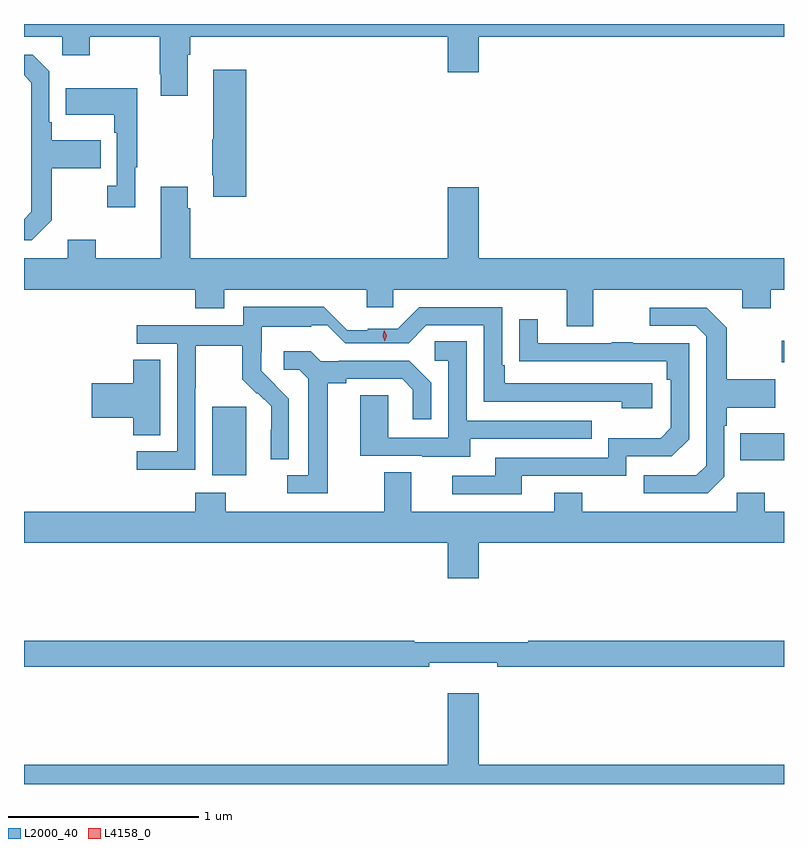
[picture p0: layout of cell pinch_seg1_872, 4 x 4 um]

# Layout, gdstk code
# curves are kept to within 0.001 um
import gdstk
lib = gdstk.Library(unit=1e-6, precision=1e-09)
def R(c, l, rs):  # rectangles x0, y0, x1, y1
    for r in rs: c.add(gdstk.rectangle(r[:2], r[2:], *l))
def P(c, l, *ps):  # polygons
    for p in ps: c.add(gdstk.Polygon(p, *l))
L2000_40 = (2000, 40)
L4158_0 = (4158, 0)

pinch_seg1_872 = lib.new_cell('pinch_seg1_872')
R(pinch_seg1_872, L2000_40, [(619.313,508.13,619.492,508.491), (622.093,508.211,622.322,508.351), (622.311,508.727,622.322,508.84)])
P(pinch_seg1_872, L2000_40, [(618.322,510.44),(618.522,510.44),(618.522,510.341),(618.669,510.341),(618.669,510.44),(619.036,510.44),(619.036,510.241),(619.043,510.241),(619.043,510.129),(619.183,510.129),(619.183,510.344),(619.196,510.344),(619.196,510.44),(620.552,510.44),(620.552,510.252),(620.716,510.252),(620.716,510.44),(622.322,510.44),(622.322,510.506),(618.322,510.506)],
  [(618.469,509.473),(618.469,509.746),(618.725,509.746),(618.725,509.893),(618.469,509.893),(618.469,509.989),(618.456,509.989),(618.456,510.258),(618.369,510.345),(618.322,510.345),(618.322,510.236),(618.36,510.198),(618.36,509.517),(618.322,509.479),(618.322,509.367),(618.363,509.367)],
  [(619.492,510.265),(619.319,510.265),(619.319,509.899),(619.312,509.899),(619.312,509.71),(619.319,509.71),(619.319,509.598),(619.492,509.598)],
  [(618.907,509.753),(618.919,509.753),(618.919,510.169),(618.541,510.169),(618.541,510.029),(618.798,510.029),(618.798,509.933),(618.81,509.933),(618.81,509.654),(618.759,509.654),(618.759,509.541),(618.907,509.541)],
  [(619.223,509.009),(619.375,509.009),(619.375,509.108),(620.126,509.108),(620.126,509.015),(620.265,509.015),(620.265,509.108),(621.179,509.108),(621.179,508.914),(621.319,508.914),(621.319,509.108),(622.103,509.108),(622.103,509.009),(622.251,509.009),(622.251,509.108),(622.322,509.108),(622.322,509.272),(620.716,509.272),(620.716,509.647),(620.552,509.647),(620.552,509.272),(619.196,509.272),(619.196,509.537),(619.183,509.537),(619.183,509.65),(619.043,509.65),(619.043,509.272),(618.699,509.272),(618.699,509.371),(618.551,509.371),(618.551,509.272),(618.322,509.272),(618.322,509.108),(619.223,509.108)],
  [(619.224,508.588),(619.227,508.588),(619.227,508.812),(619.471,508.812),(619.471,508.637),(619.548,508.56),(619.551,508.563),(619.622,508.493),(619.622,508.37),(619.62,508.37),(619.62,508.216),(619.716,508.216),(619.716,508.534),(619.57,508.682),(619.57,508.779),(619.572,508.779),(619.572,508.913),(619.835,508.913),(619.835,508.92),(619.919,508.92),(620.012,508.827),(620.346,508.827),(620.439,508.92),(620.742,508.92),(620.742,508.518),(621.467,508.518),(621.467,508.484),(621.628,508.484),(621.628,508.614),(620.851,508.614),(620.851,508.711),(620.838,508.711),(620.838,509.016),(620.403,509.016),(620.289,508.902),(620.13,508.902),(620.13,508.893),(620.024,508.893),(619.9,509.017),(619.476,509.017),(619.476,508.92),(618.915,508.92),(618.915,508.824),(619.128,508.824),(619.128,508.257),(618.915,508.257),(618.915,508.159),(619.224,508.159)],
  [(622.008,508.122),(622.008,508.391),(622.021,508.391),(622.021,508.487),(622.277,508.487),(622.277,508.635),(622.021,508.635),(622.021,508.907),(621.915,509.013),(621.615,509.013),(621.615,508.917),(621.858,508.917),(621.912,508.863),(621.912,508.182),(621.861,508.131),(621.585,508.131),(621.585,508.035),(621.921,508.035)],
  [(620.941,508.128),(621.492,508.128),(621.492,508.23),(621.732,508.23),(621.822,508.32),(621.822,508.827),(621.527,508.827),(621.527,508.832),(621.415,508.832),(621.415,508.827),(621.025,508.827),(621.025,508.951),(620.929,508.951),(620.929,508.732),(621.706,508.731),(621.706,508.634),(621.726,508.634),(621.726,508.38),(621.673,508.327),(621.396,508.327),(621.396,508.224),(620.801,508.224),(620.801,508.128),(620.577,508.128),(620.577,508.032),(620.941,508.032)],
  [(620.671,508.323),(621.311,508.323),(621.311,508.419),(620.652,508.419),(620.652,508.835),(620.484,508.835),(620.484,508.734),(620.556,508.734),(620.556,508.329),(620.238,508.329),(620.238,508.553),(620.093,508.553),(620.093,508.233),(620.417,508.233),(620.417,508.229),(620.671,508.229)],
  [(619.921,508.616),(620.017,508.616),(620.017,508.638),(620.312,508.638),(620.369,508.581),(620.369,508.425),(620.466,508.425),(620.466,508.618),(620.35,508.734),(619.978,508.734),(619.978,508.731),(619.884,508.731),(619.832,508.783),(619.689,508.783),(619.689,508.686),(619.77,508.686),(619.817,508.639),(619.817,508.131),(619.707,508.131),(619.707,508.035),(619.921,508.035)],
  [(619.039,508.739),(618.896,508.739),(618.896,508.616),(618.678,508.616),(618.678,508.433),(618.896,508.433),(618.896,508.342),(619.039,508.342)],
  [(620.359,508.148),(620.219,508.148),(620.219,507.94),(619.383,507.94),(619.383,508.039),(619.223,508.039),(619.223,507.94),(618.322,507.94),(618.322,507.776),(620.552,507.776),(620.552,507.588),(620.716,507.588),(620.716,507.776),(622.322,507.776),(622.322,507.94),(622.221,507.94),(622.221,508.039),(622.074,508.039),(622.074,507.94),(621.261,507.94),(621.261,508.039),(621.113,508.039),(621.113,507.94),(620.359,507.94)],
  [(620.456,507.143),(620.812,507.143),(620.812,507.124),(622.322,507.124),(622.322,507.26),(620.975,507.26),(620.975,507.253),(620.375,507.253),(620.375,507.26),(618.322,507.26),(618.322,507.124),(620.456,507.124)],
  [(622.322,506.608),(620.716,506.608),(620.716,506.983),(620.552,506.983),(620.552,506.608),(618.322,506.608),(618.322,506.506),(622.322,506.506)])
P(pinch_seg1_872, L4158_0, [(620.22,508.835),(620.21,508.864),(620.218,508.894),(620.218,508.895),(620.219,508.894),(620.23,508.865),(620.221,508.835),(620.221,508.835)])

lib.write_gds('pinch_seg1_872.gds')
